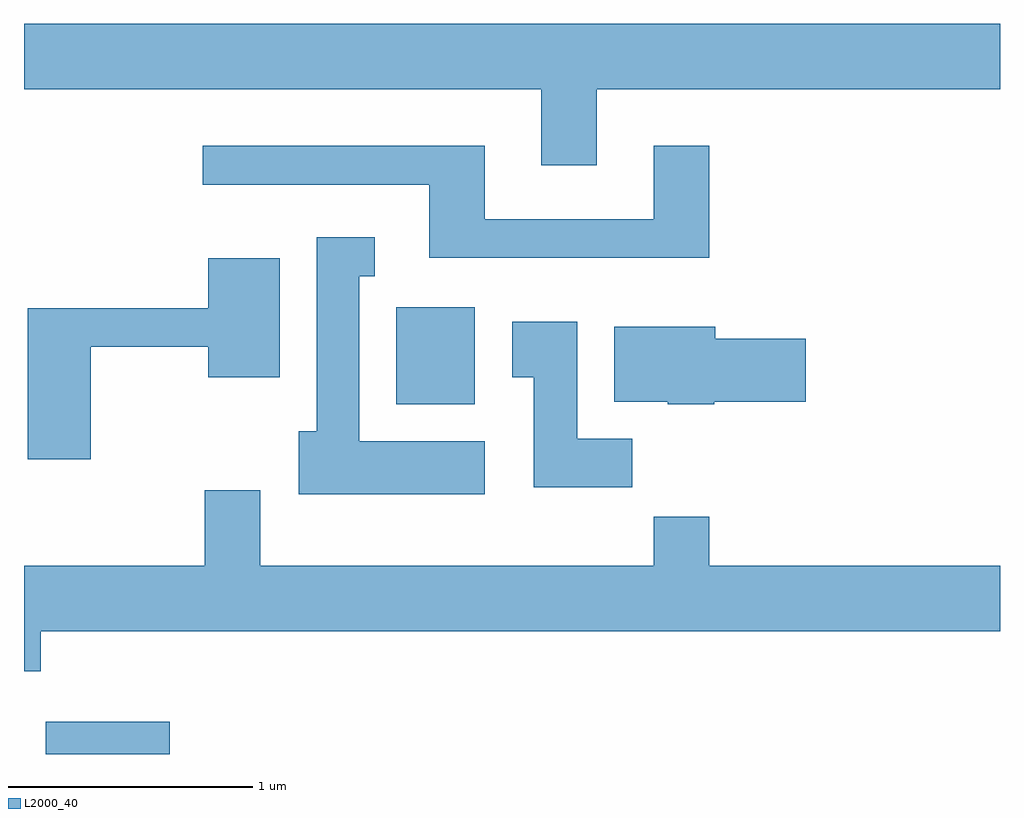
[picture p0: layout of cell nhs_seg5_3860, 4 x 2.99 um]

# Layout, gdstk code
import gdstk
lib = gdstk.Library(unit=1e-6, precision=1e-09)
def R(c, l, rs):  # rectangles x0, y0, x1, y1
    for r in rs: c.add(gdstk.rectangle(r[:2], r[2:], *l))
def P(c, l, *ps):  # polygons
    for p in ps: c.add(gdstk.Polygon(p, *l))
L2000_40 = (2000, 40)

nhs_seg5_3860 = lib.new_cell('nhs_seg5_3860')
R(nhs_seg5_3860, L2000_40, [(299.701,1454.072,300.208,1454.204), (301.136,1455.506,301.459,1455.904)])
P(nhs_seg5_3860, L2000_40, [(301.959,1456.796),(303.611,1456.796),(303.611,1457.064),(299.611,1457.064),(299.611,1456.796),(301.731,1456.796),(301.731,1456.486),(301.959,1456.486)],
  [(302.419,1456.564),(302.191,1456.564),(302.191,1456.264),(301.499,1456.264),(301.499,1456.564),(300.343,1456.564),(300.343,1456.406),(301.271,1456.406),(301.271,1456.106),(302.419,1456.106)],
  [(301.499,1455.354),(300.984,1455.354),(300.984,1456.031),(301.048,1456.031),(301.048,1456.189),(300.811,1456.189),(300.811,1455.394),(300.736,1455.394),(300.736,1455.136),(301.499,1455.136)],
  [(299.884,1455.741),(300.366,1455.741),(300.366,1455.616),(300.659,1455.616),(300.659,1456.104),(300.366,1456.104),(300.366,1455.899),(299.626,1455.899),(299.626,1455.281),(299.884,1455.281)],
  [(302.104,1455.364),(301.879,1455.364),(301.879,1455.844),(301.611,1455.844),(301.611,1455.616),(301.701,1455.616),(301.701,1455.166),(302.104,1455.166)],
  [(302.44,1455.516),(302.814,1455.516),(302.814,1455.774),(302.444,1455.774),(302.444,1455.824),(302.031,1455.824),(302.031,1455.516),(302.25,1455.516),(302.25,1455.506),(302.44,1455.506)],
  [(299.679,1454.576),(303.611,1454.576),(303.611,1454.844),(302.419,1454.844),(302.419,1455.044),(302.191,1455.044),(302.191,1454.844),(300.579,1454.844),(300.579,1455.154),(300.351,1455.154),(300.351,1454.844),(299.611,1454.844),(299.611,1454.411),(299.679,1454.411)])

lib.write_gds('nhs_seg5_3860.gds')
